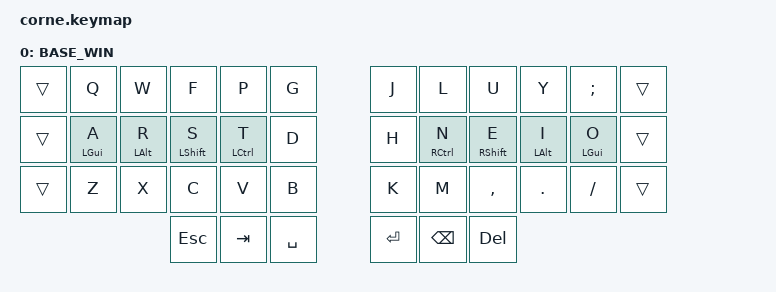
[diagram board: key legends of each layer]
#include <behaviors.dtsi>
#include <dt-bindings/zmk/keys.h>

#define DEF 0
#define NAV 1
#define SYM 2
#define ADJ 3

//testing mouse movement and scroll binds...

/ {
    behaviors {
        hm: homerow_mods {
            compatible = "zmk,behavior-hold-tap";
            label = "HOMEROW_MODS";
            #binding-cells = <2>;
            tapping-term-ms = <200>;
            quick_tap_ms = <0>;
            flavor = "tap-preferred";
            bindings = <&kp>, <&kp>;

            quick-tap-ms = <180>;
            global-quick-tap;
        };
    };

    keymap {
        compatible = "zmk,keymap";

        BASE_WIN {
            bindings = <
&trans  &kp Q       &kp W           &kp F             &kp P        &kp G        &kp J      &kp L          &kp U              &kp Y           &kp SEMI        &trans
&trans  &hm LGUI A  &hm LEFT_ALT R  &hm LEFT_SHIFT S  &hm LCTRL T  &kp D        &kp H      &hm RCTRL N    &hm RIGHT_SHIFT E  &hm LEFT_ALT I  &hm LEFT_GUI O  &trans
&trans  &kp Z       &kp X           &kp C             &kp V        &kp B        &kp K      &kp M          &kp COMMA          &kp DOT         &kp FSLH        &trans
                                    &kp ESC           &kp TAB      &kp SPACE    &kp ENTER  &kp BACKSPACE  &kp DEL
            >;
        };
    };
};
